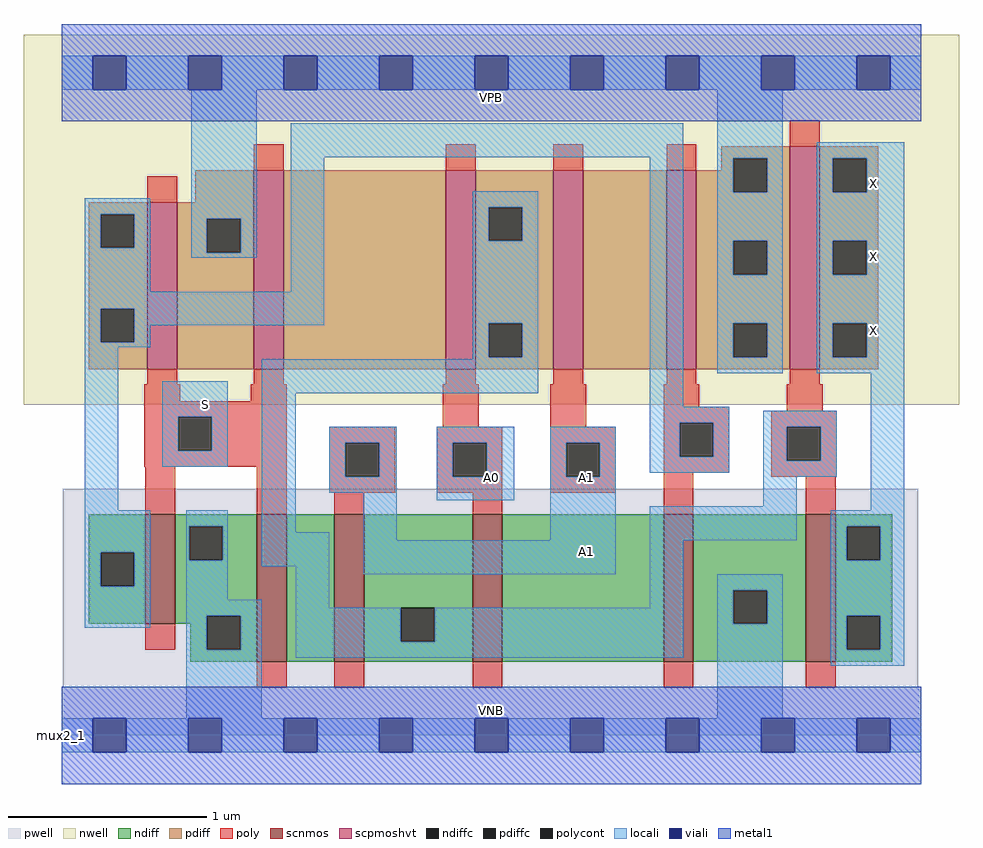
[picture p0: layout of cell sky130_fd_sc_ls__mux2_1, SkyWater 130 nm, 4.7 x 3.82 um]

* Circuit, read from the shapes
.subckt sky130_fd_sc_ls__mux2_1 A0 A1 S VGND VNB VPB VPWR X
XM1 VGND S n1 VNB sky130_fd_pr__nfet_01v8 w=0.55 l=0.15
XM2 n2 S VGND VNB sky130_fd_pr__nfet_01v8 w=0.74 l=0.15
XM3 n3 A1 n2 VNB sky130_fd_pr__nfet_01v8 w=0.74 l=0.15
XM4 n4 A0 n3 VNB sky130_fd_pr__nfet_01v8 w=0.74 l=0.15
XM5 VGND n1 n4 VNB sky130_fd_pr__nfet_01v8 w=0.74 l=0.15
XM6 X n3 VGND VNB sky130_fd_pr__nfet_01v8 w=0.74 l=0.15
XM7 VPWR S n1 VPB sky130_fd_pr__pfet_01v8_hvt w=0.84 l=0.15
XM8 n5 S VPWR VPB sky130_fd_pr__pfet_01v8_hvt w=1 l=0.15
XM9 n3 A0 n5 VPB sky130_fd_pr__pfet_01v8_hvt w=1 l=0.15
XM10 n6 A1 n3 VPB sky130_fd_pr__pfet_01v8_hvt w=1 l=0.15
XM11 VPWR n1 n6 VPB sky130_fd_pr__pfet_01v8_hvt w=1 l=0.15
XM12 X n3 VPWR VPB sky130_fd_pr__pfet_01v8_hvt w=1.12 l=0.15
.ends

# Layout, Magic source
magic
tech sky130A
magscale 1 2
<< nwell >>
rect -38 332 902 704
<< pwell >>
rect 1 49 861 248
rect 0 0 864 49
<< scnmos >>
rect 84 112 114 222
rect 196 74 226 222
rect 274 74 304 222
rect 413 74 443 222
rect 605 74 635 222
rect 748 74 778 222
<< scpmoshvt >>
rect 86 368 116 536
rect 193 368 223 568
rect 386 368 416 568
rect 494 368 524 568
rect 608 368 638 568
rect 732 368 762 592
<< ndiff >>
rect 27 184 84 222
rect 27 150 39 184
rect 73 150 84 184
rect 27 112 84 150
rect 114 210 196 222
rect 114 176 128 210
rect 162 176 196 210
rect 114 120 196 176
rect 114 112 146 120
rect 129 86 146 112
rect 180 86 196 120
rect 129 74 196 86
rect 226 74 274 222
rect 304 128 413 222
rect 304 94 341 128
rect 375 94 413 128
rect 304 74 413 94
rect 443 74 605 222
rect 635 146 748 222
rect 635 112 675 146
rect 709 112 748 146
rect 635 74 748 112
rect 778 210 835 222
rect 778 176 789 210
rect 823 176 835 210
rect 778 120 835 176
rect 778 86 789 120
rect 823 86 835 120
rect 778 74 835 86
<< pdiff >>
rect 663 580 732 592
rect 663 568 675 580
rect 134 536 193 568
rect 27 524 86 536
rect 27 490 39 524
rect 73 490 86 524
rect 27 429 86 490
rect 27 395 39 429
rect 73 395 86 429
rect 27 368 86 395
rect 116 519 193 536
rect 116 485 146 519
rect 180 485 193 519
rect 116 368 193 485
rect 223 368 386 568
rect 416 531 494 568
rect 416 497 429 531
rect 463 497 494 531
rect 416 414 494 497
rect 416 380 429 414
rect 463 380 494 414
rect 416 368 494 380
rect 524 368 608 568
rect 638 546 675 568
rect 709 546 732 580
rect 638 497 732 546
rect 638 463 675 497
rect 709 463 732 497
rect 638 414 732 463
rect 638 380 675 414
rect 709 380 732 414
rect 638 368 732 380
rect 762 580 821 592
rect 762 546 775 580
rect 809 546 821 580
rect 762 497 821 546
rect 762 463 775 497
rect 809 463 821 497
rect 762 414 821 463
rect 762 380 775 414
rect 809 380 821 414
rect 762 368 821 380
<< ndiffc >>
rect 39 150 73 184
rect 128 176 162 210
rect 146 86 180 120
rect 341 94 375 128
rect 675 112 709 146
rect 789 176 823 210
rect 789 86 823 120
<< pdiffc >>
rect 39 490 73 524
rect 39 395 73 429
rect 146 485 180 519
rect 429 497 463 531
rect 429 380 463 414
rect 675 546 709 580
rect 675 463 709 497
rect 675 380 709 414
rect 775 546 809 580
rect 775 463 809 497
rect 775 380 809 414
<< poly >>
rect 193 568 223 594
rect 386 568 416 594
rect 494 568 524 594
rect 608 568 638 594
rect 732 592 762 618
rect 86 536 116 562
rect 86 353 116 368
rect 193 353 223 368
rect 386 353 416 368
rect 494 353 524 368
rect 608 353 638 368
rect 732 353 762 368
rect 83 336 119 353
rect 190 336 226 353
rect 83 320 226 336
rect 83 286 117 320
rect 151 286 226 320
rect 383 310 419 353
rect 491 310 527 353
rect 605 330 641 353
rect 605 314 671 330
rect 729 326 765 353
rect 83 270 226 286
rect 84 222 114 270
rect 196 222 226 270
rect 269 294 335 310
rect 269 260 285 294
rect 319 260 335 294
rect 269 244 335 260
rect 377 294 443 310
rect 377 260 393 294
rect 427 260 443 294
rect 377 244 443 260
rect 491 294 557 310
rect 491 260 507 294
rect 541 260 557 294
rect 491 244 557 260
rect 605 280 621 314
rect 655 280 671 314
rect 605 264 671 280
rect 713 310 779 326
rect 713 276 729 310
rect 763 276 779 310
rect 274 222 304 244
rect 413 222 443 244
rect 605 222 635 264
rect 713 260 779 276
rect 748 222 778 260
rect 84 86 114 112
rect 196 48 226 74
rect 274 48 304 74
rect 413 48 443 74
rect 605 48 635 74
rect 748 48 778 74
<< polycont >>
rect 117 286 151 320
rect 285 260 319 294
rect 393 260 427 294
rect 507 260 541 294
rect 621 280 655 314
rect 729 276 763 310
<< locali >>
rect 0 649 31 683
rect 65 649 127 683
rect 161 649 223 683
rect 257 649 319 683
rect 353 649 415 683
rect 449 649 511 683
rect 545 649 607 683
rect 641 649 703 683
rect 737 649 799 683
rect 833 649 864 683
rect 23 524 89 540
rect 23 490 39 524
rect 73 490 89 524
rect 23 446 89 490
rect 130 519 196 649
rect 130 485 146 519
rect 180 485 196 519
rect 130 480 196 485
rect 230 581 625 615
rect 230 446 264 581
rect 23 429 264 446
rect 23 395 39 429
rect 73 412 264 429
rect 413 531 479 547
rect 413 497 429 531
rect 463 497 479 531
rect 413 414 479 497
rect 73 395 89 412
rect 23 390 89 395
rect 23 226 57 390
rect 413 380 429 414
rect 463 380 479 414
rect 413 378 479 380
rect 101 320 167 356
rect 101 286 117 320
rect 151 286 167 320
rect 101 270 167 286
rect 201 344 479 378
rect 23 184 89 226
rect 23 150 39 184
rect 73 150 89 184
rect 23 108 89 150
rect 125 210 167 226
rect 125 176 128 210
rect 162 176 167 210
rect 125 136 167 176
rect 201 204 235 344
rect 591 330 625 581
rect 659 580 725 649
rect 659 546 675 580
rect 709 546 725 580
rect 659 497 725 546
rect 659 463 675 497
rect 709 463 725 497
rect 659 414 725 463
rect 659 380 675 414
rect 709 380 725 414
rect 659 364 725 380
rect 759 580 847 596
rect 759 546 775 580
rect 809 546 847 580
rect 759 497 847 546
rect 759 463 775 497
rect 809 463 847 497
rect 759 414 847 463
rect 759 380 775 414
rect 809 380 847 414
rect 759 364 847 380
rect 591 314 671 330
rect 269 294 337 310
rect 269 260 285 294
rect 319 260 337 294
rect 269 244 337 260
rect 201 170 269 204
rect 125 120 201 136
rect 125 86 146 120
rect 180 86 201 120
rect 125 17 201 86
rect 235 128 269 170
rect 303 196 337 244
rect 377 294 455 310
rect 377 260 393 294
rect 427 260 455 294
rect 377 236 455 260
rect 491 294 557 310
rect 491 260 507 294
rect 541 260 557 294
rect 591 280 621 314
rect 655 280 671 314
rect 591 264 671 280
rect 705 310 779 326
rect 705 276 729 310
rect 763 276 779 310
rect 491 196 557 260
rect 705 260 779 276
rect 705 230 739 260
rect 303 162 557 196
rect 591 196 739 230
rect 813 226 847 364
rect 773 210 847 226
rect 591 128 625 196
rect 773 176 789 210
rect 823 176 847 210
rect 235 94 341 128
rect 375 94 625 128
rect 235 78 625 94
rect 659 146 725 162
rect 659 112 675 146
rect 709 112 725 146
rect 659 17 725 112
rect 773 120 847 176
rect 773 86 789 120
rect 823 86 847 120
rect 773 70 847 86
rect 0 -17 31 17
rect 65 -17 127 17
rect 161 -17 223 17
rect 257 -17 319 17
rect 353 -17 415 17
rect 449 -17 511 17
rect 545 -17 607 17
rect 641 -17 703 17
rect 737 -17 799 17
rect 833 -17 864 17
<< viali >>
rect 31 649 65 683
rect 127 649 161 683
rect 223 649 257 683
rect 319 649 353 683
rect 415 649 449 683
rect 511 649 545 683
rect 607 649 641 683
rect 703 649 737 683
rect 799 649 833 683
rect 31 -17 65 17
rect 127 -17 161 17
rect 223 -17 257 17
rect 319 -17 353 17
rect 415 -17 449 17
rect 511 -17 545 17
rect 607 -17 641 17
rect 703 -17 737 17
rect 799 -17 833 17
<< metal1 >>
rect 0 683 864 715
rect 0 649 31 683
rect 65 649 127 683
rect 161 649 223 683
rect 257 649 319 683
rect 353 649 415 683
rect 449 649 511 683
rect 545 649 607 683
rect 641 649 703 683
rect 737 649 799 683
rect 833 649 864 683
rect 0 617 864 649
rect 0 17 864 49
rect 0 -17 31 17
rect 65 -17 127 17
rect 161 -17 223 17
rect 257 -17 319 17
rect 353 -17 415 17
rect 449 -17 511 17
rect 545 -17 607 17
rect 641 -17 703 17
rect 737 -17 799 17
rect 833 -17 864 17
rect 0 -49 864 -17
<< labels >>
rlabel comment s 0 0 0 0 4 mux2_1
flabel pwell s 0 0 864 49 0 FreeSans 200 0 0 0 VNB
port 5 nsew ground bidirectional
flabel nwell s 0 617 864 666 0 FreeSans 200 0 0 0 VPB
port 6 nsew power bidirectional
flabel metal1 s 0 617 864 666 0 FreeSans 340 0 0 0 VPWR
port 7 nsew power bidirectional abutment
flabel metal1 s 0 0 864 49 0 FreeSans 340 0 0 0 VGND
port 4 nsew ground bidirectional abutment
flabel locali s 799 390 833 424 0 FreeSans 340 0 0 0 X
port 8 nsew signal output
flabel locali s 799 464 833 498 0 FreeSans 340 0 0 0 X
port 8 nsew signal output
flabel locali s 799 538 833 572 0 FreeSans 340 0 0 0 X
port 8 nsew signal output
flabel locali s 127 316 161 350 0 FreeSans 340 0 0 0 S
port 3 nsew signal input
flabel locali s 415 242 449 276 0 FreeSans 340 0 0 0 A0
port 1 nsew signal input
flabel locali s 511 168 545 202 0 FreeSans 340 0 0 0 A1
port 2 nsew signal input
flabel locali s 511 242 545 276 0 FreeSans 340 0 0 0 A1
port 2 nsew signal input
<< properties >>
string LEFsite unit
string LEFclass CORE
string FIXED_BBOX 0 0 864 666
string GDS_FILE $PDKPATH/libs.ref/sky130_fd_sc_ls/gds/sky130_fd_sc_ls.gds
string LEFsymmetry X Y
string GDS_END 1131740
string GDS_START 1124878
<< end >>
